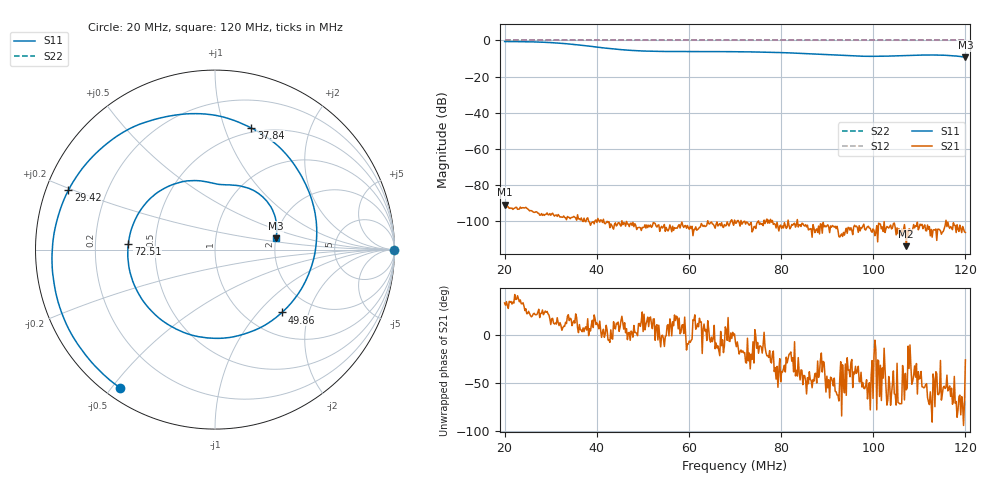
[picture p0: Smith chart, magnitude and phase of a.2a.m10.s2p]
! Anritsu VNA Master:  Model: MS2036C/10/77
! SN:  1601066
! /bd0/18may09/252.ew.m10.s2p
! Existing Calibration Information:
! TYPE:  Current Settings,  Active Cal Settings
! TIME:  05/09/2018 08:27:27 AM,  05/09/2018 08:17:55 AM
! INTERNAL TEMP:  40.8 C,  41.3 C
! # POINTS:  500,  500
! START FREQ:  20.000 MHz,  20.000 MHz
! STOP FREQ:  120.000 MHz,  120.000 MHz
! SOURCE POWER:  High,  High
! IFBW:  50 Hz,  50 Hz
! AVG FACTOR:  1 ,  1
! REF PLANE 1:  0 mm,  0 mm
! REF PLANE 2:  0 mm,  0 mm
! CAL TYPE:  Full S11,  Full S11
! CAL METHOD:  SOLT,  SOLT
! CAL LINE TYPE:  Coax,  Coax
! DUT PORT 1:  K-Conn(F),  K-Conn(F)
! DUT PORT 2:  K-Conn(F),  K-Conn(F)
! CAL STATUS:  OK: Accuracy High,  --
# GHZ S DB R 50.0
! FREQ.GHZ  S11DB  S11A  S21DB  S21A  S12DB  S12A  S22DB  S22A
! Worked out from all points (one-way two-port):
!   500 points, 20 MHz to 120 MHz, reference 50 ohm
!   highest |S21| = -90.77 dB at 20 MHz (marker M1); lowest = -113.8 dB at 107.2 MHz (marker M2)
!   lowest |S11| = -9.2 dB at 120 MHz (marker M3), VSWR 2.05, Z = 99.9 + j14.4 ohm
!   |S11| at or under -10 dB: nowhere
!   |S22| runs from 0.0 to 0.0 dB; largest |S21 - S12| = 1
!   S11 on the Smith chart (normalised r, x): 20 MHz: 0.04, -0.53; 29.42 MHz: 0.07, +0.19; 37.84 MHz: 0.46, +1.24; 49.86 MHz: 1.43, -1.36; 72.51 MHz: 0.35, +0.03; 120 MHz: 2.00, +0.29
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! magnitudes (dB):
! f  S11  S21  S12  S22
! 20 MHz  -0.6  -90.8  0.0  0.0
! 24.81 MHz  -0.7  -92.8  0.0  0.0
! 29.42 MHz  -1.1  -96.4  0.0  0.0
! 32.83 MHz  -1.7  -97.1  0.0  0.0
! 36.83 MHz  -2.7  -99.6  0.0  0.0
! 37.84 MHz  -3.0  -98.6  0.0  0.0
! 44.65 MHz  -4.9  -100.9  0.0  0.0
! 46.85 MHz  -5.4  -101.6  0.0  0.0
! 49.86 MHz  -5.8  -103.5  0.0  0.0
! 53.47 MHz  -6.1  -102.0  0.0  0.0
! 70.1 MHz  -6.2  -101.1  0.0  0.0
! 72.51 MHz  -6.3  -100.4  0.0  0.0
! 80.12 MHz  -6.7  -104.0  0.0  0.0
! 86.73 MHz  -7.4  -108.9  0.0  0.0
! 97.35 MHz  -8.7  -103.6  0.0  0.0
! 99.76 MHz  -8.8  -106.1  0.0  0.0
! 103.4 MHz  -8.7  -103.8  0.0  0.0
! 107.2 MHz  -8.3  -113.8  0.0  0.0
! 111.2 MHz  -8.1  -102.0  0.0  0.0
! 114.6 MHz  -8.1  -105.3  0.0  0.0
! 117.2 MHz  -8.4  -104.7  0.0  0.0
! 120 MHz  -9.2  -106.2  0.0  0.0
